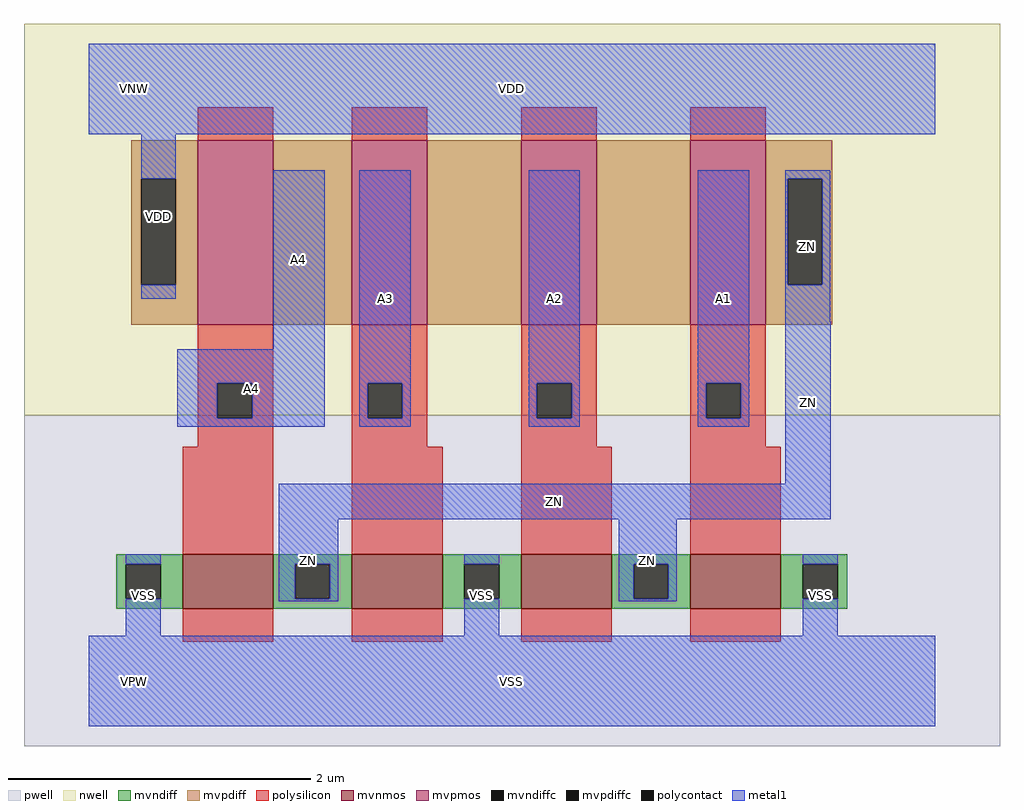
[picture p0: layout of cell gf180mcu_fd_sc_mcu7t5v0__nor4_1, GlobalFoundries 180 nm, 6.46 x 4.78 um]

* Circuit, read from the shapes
.subckt gf180mcu_fd_sc_mcu7t5v0__nor4_1 A1 A2 A3 A4 ZN VDD VNW VPW VSS
XM1 ZN A4 VSS VPW nfet_06v0 w=0.36u l=0.6u
XM2 VSS A3 ZN VPW nfet_06v0 w=0.36u l=0.6u
XM3 ZN A2 VSS VPW nfet_06v0 w=0.36u l=0.6u
XM4 VSS A1 ZN VPW nfet_06v0 w=0.36u l=0.6u
XM5 n1 A4 VDD VNW pfet_06v0 w=1.22u l=0.5u
XM6 n2 A3 n1 VNW pfet_06v0 w=1.22u l=0.5u
XM7 n3 A2 n2 VNW pfet_06v0 w=1.22u l=0.5u
XM8 ZN A1 n3 VNW pfet_06v0 w=1.22u l=0.5u
.ends

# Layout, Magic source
magic
tech gf180mcuD
magscale 1 10
<< nwell >>
rect -86 352 1206 870
<< pwell >>
rect -86 -86 1206 352
<< mvnmos >>
rect 124 96 244 168
rect 348 96 468 168
rect 572 96 692 168
rect 796 96 916 168
<< mvpmos >>
rect 144 472 244 716
rect 348 472 448 716
rect 572 472 672 716
rect 796 472 896 716
<< mvndiff >>
rect 36 155 124 168
rect 36 109 49 155
rect 95 109 124 155
rect 36 96 124 109
rect 244 155 348 168
rect 244 109 273 155
rect 319 109 348 155
rect 244 96 348 109
rect 468 155 572 168
rect 468 109 497 155
rect 543 109 572 155
rect 468 96 572 109
rect 692 155 796 168
rect 692 109 721 155
rect 767 109 796 155
rect 692 96 796 109
rect 916 155 1004 168
rect 916 109 945 155
rect 991 109 1004 155
rect 916 96 1004 109
<< mvpdiff >>
rect 56 665 144 716
rect 56 525 69 665
rect 115 525 144 665
rect 56 472 144 525
rect 244 472 348 716
rect 448 472 572 716
rect 672 472 796 716
rect 896 665 984 716
rect 896 525 925 665
rect 971 525 984 665
rect 896 472 984 525
<< mvndiffc >>
rect 49 109 95 155
rect 273 109 319 155
rect 497 109 543 155
rect 721 109 767 155
rect 945 109 991 155
<< mvpdiffc >>
rect 69 525 115 665
rect 925 525 971 665
<< polysilicon >>
rect 144 716 244 760
rect 348 716 448 760
rect 572 716 672 760
rect 796 716 896 760
rect 144 394 244 472
rect 144 348 170 394
rect 216 348 244 394
rect 144 310 244 348
rect 124 168 244 310
rect 348 394 448 472
rect 348 348 369 394
rect 415 348 448 394
rect 348 310 448 348
rect 572 394 672 472
rect 572 348 593 394
rect 639 348 672 394
rect 572 310 672 348
rect 796 394 896 472
rect 796 348 817 394
rect 863 348 896 394
rect 796 310 896 348
rect 348 168 468 310
rect 572 168 692 310
rect 796 168 916 310
rect 124 52 244 96
rect 348 52 468 96
rect 572 52 692 96
rect 796 52 916 96
<< polycontact >>
rect 170 348 216 394
rect 369 348 415 394
rect 593 348 639 394
rect 817 348 863 394
<< metal1 >>
rect 0 724 1120 844
rect 69 665 115 724
rect 69 506 115 525
rect 244 439 312 676
rect 117 394 312 439
rect 117 348 170 394
rect 216 348 312 394
rect 117 337 312 348
rect 358 394 426 676
rect 358 348 369 394
rect 415 348 426 394
rect 358 337 426 348
rect 582 394 650 676
rect 582 348 593 394
rect 639 348 650 394
rect 582 337 650 348
rect 806 394 874 676
rect 806 348 817 394
rect 863 348 874 394
rect 806 337 874 348
rect 922 665 981 676
rect 922 525 925 665
rect 971 525 981 665
rect 922 476 981 525
rect 922 261 982 476
rect 251 214 982 261
rect 49 155 95 168
rect 49 60 95 109
rect 251 155 330 214
rect 251 109 273 155
rect 319 109 330 155
rect 251 106 330 109
rect 497 155 543 168
rect 497 60 543 109
rect 701 155 778 214
rect 701 109 721 155
rect 767 109 778 155
rect 701 106 778 109
rect 945 155 991 168
rect 945 60 991 109
rect 0 -60 1120 60
<< labels >>
flabel metal1 s 358 337 426 676 0 FreeSans 400 0 0 0 A3
port 3 nsew default input
flabel metal1 s 244 439 312 676 0 FreeSans 400 0 0 0 A4
port 4 nsew default input
flabel metal1 s 0 724 1120 844 0 FreeSans 400 0 0 0 VDD
port 6 nsew power bidirectional abutment
flabel metal1 s 945 60 991 168 0 FreeSans 400 0 0 0 VSS
port 9 nsew ground bidirectional abutment
flabel metal1 s 922 476 981 676 0 FreeSans 400 0 0 0 ZN
port 5 nsew default output
flabel metal1 s 806 337 874 676 0 FreeSans 400 0 0 0 A1
port 1 nsew default input
flabel metal1 s 582 337 650 676 0 FreeSans 400 0 0 0 A2
port 2 nsew default input
flabel nwell s 10 734 110 834 0 FreeSans 400 0 0 0 VNW
port 7 nsew power bidirectional
flabel pwell s 10 -50 110 50 0 FreeSans 400 0 0 0 VPW
port 8 nsew ground bidirectional
rlabel metal1 s 117 337 312 439 1 A4
port 4 nsew default input
rlabel metal1 s 922 261 982 476 1 ZN
port 5 nsew default output
rlabel metal1 s 251 214 982 261 1 ZN
port 5 nsew default output
rlabel metal1 s 701 106 778 214 1 ZN
port 5 nsew default output
rlabel metal1 s 251 106 330 214 1 ZN
port 5 nsew default output
rlabel metal1 s 69 506 115 724 1 VDD
port 6 nsew power bidirectional abutment
rlabel metal1 s 497 60 543 168 1 VSS
port 9 nsew ground bidirectional abutment
rlabel metal1 s 49 60 95 168 1 VSS
port 9 nsew ground bidirectional abutment
rlabel metal1 s 0 -60 1120 60 1 VSS
port 9 nsew ground bidirectional abutment
<< properties >>
string FIXED_BBOX 0 0 1120 784
string GDS_END 764110
string GDS_FILE $PDKPATH/libs.ref/gf180mcu_fd_sc_mcu7t5v0/gds/gf180mcu_fd_sc_mcu7t5v0.gds
string GDS_START 760816
string LEFclass core
string LEFsite GF018hv5v_mcu_sc7
string LEFsymmetry X Y
<< end >>
